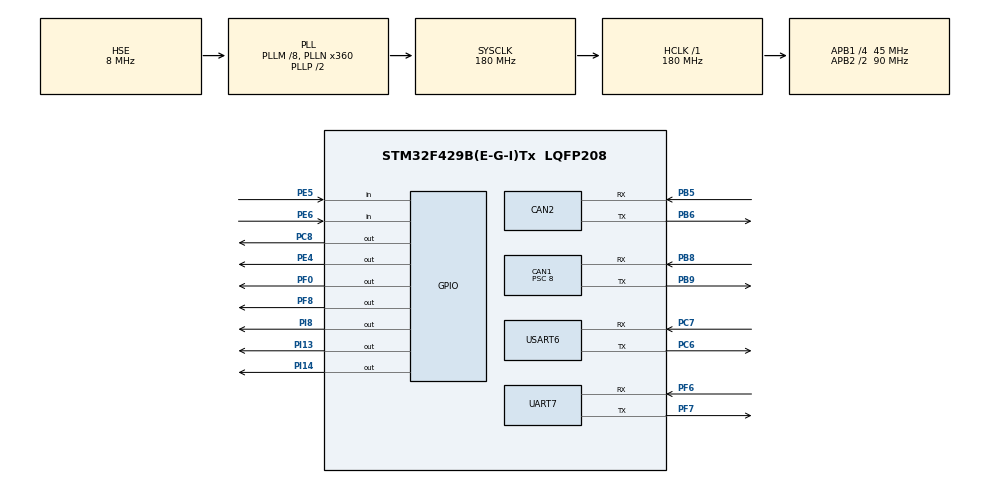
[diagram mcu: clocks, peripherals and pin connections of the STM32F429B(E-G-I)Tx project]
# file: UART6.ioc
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CAN1.ABOM=ENABLE
CAN1.BS1=CAN_BS1_8TQ
CAN1.BS2=CAN_BS2_3TQ
CAN1.CalculateTimeQuantum=177.77777777777777
CAN1.Prescaler=8
CAN2.BS1=CAN_BS1_3TQ
CAN2.BS2=CAN_BS2_5TQ
CAN2.CalculateTimeQuantum=355.55555555555554
Mcu.Family=STM32F4
Mcu.Name=STM32F429B(E-G-I)Tx
Mcu.Package=LQFP208
NVIC.CAN1_RX0_IRQn=true\:0\:0\:false\:false\:true\:true
NVIC.CAN1_TX_IRQn=true\:0\:0\:false\:false\:true\:true
NVIC.PriorityGroup=NVIC_PRIORITYGROUP_4
NVIC.UART7_IRQn=true\:0\:0\:false\:false\:true\:true
NVIC.USART6_IRQn=true\:0\:0\:false\:false\:true\:true
PB5.Mode=Slave
PB5.Signal=CAN2_RX
PB6.Mode=Slave
PB6.Signal=CAN2_TX
PB8.Mode=Master
PB8.Signal=CAN1_RX
PB9.Mode=Master
PB9.Signal=CAN1_TX
PC14/OSC32_IN.Mode=LSE-External-Oscillator
PC14/OSC32_IN.Signal=RCC_OSC32_IN
PC15/OSC32_OUT.Mode=LSE-External-Oscillator
PC15/OSC32_OUT.Signal=RCC_OSC32_OUT
PC6.Mode=Asynchronous
PC6.Signal=USART6_TX
PC7.Mode=Asynchronous
PC7.Signal=USART6_RX
PC8.Signal=GPIO_Output
PE4.GPIO_ModeDefaultOutputPP=GPIO_MODE_OUTPUT_PP
PE4.GPIO_PuPd=GPIO_NOPULL
PE4.GPIO_Speed=GPIO_SPEED_FREQ_LOW
PE4.PinState=GPIO_PIN_RESET
PE4.Signal=GPIO_Output
PE5.GPIO_Mode=GPIO_MODE_INPUT
PE5.GPIO_PuPd=GPIO_NOPULL
PE5.Signal=GPIO_Input
PE6.GPIO_Mode=GPIO_MODE_INPUT
PE6.GPIO_PuPd=GPIO_NOPULL
PE6.Signal=GPIO_Input
PF0.Signal=GPIO_Output
PF6.Mode=Asynchronous
PF6.Signal=UART7_RX
PF7.Mode=Asynchronous
PF7.Signal=UART7_TX
PF8.Signal=GPIO_Output
PH0/OSC_IN.Mode=HSE-External-Oscillator
PH0/OSC_IN.Signal=RCC_OSC_IN
PH1/OSC_OUT.Mode=HSE-External-Oscillator
PH1/OSC_OUT.Signal=RCC_OSC_OUT
PI13.Signal=GPIO_Output
PI14.Signal=GPIO_Output
PI8.GPIO_ModeDefaultOutputPP=GPIO_MODE_OUTPUT_PP
PI8.GPIO_PuPd=GPIO_NOPULL
PI8.GPIO_Speed=GPIO_SPEED_FREQ_LOW
PI8.PinState=GPIO_PIN_RESET
PI8.Signal=GPIO_Output
ProjectManager.HeapSize=0x200
ProjectManager.StackSize=0x400
ProjectManager.TargetToolchain=MDK-ARM V5
RCC.48MHZClocksFreq_Value=90000000
RCC.AHBFreq_Value=180000000
RCC.APB1CLKDivider=RCC_HCLK_DIV4
RCC.APB1Freq_Value=45000000
RCC.APB1TimFreq_Value=90000000
RCC.APB2CLKDivider=RCC_HCLK_DIV2
RCC.APB2Freq_Value=90000000
RCC.APB2TimFreq_Value=180000000
RCC.CortexFreq_Value=180000000
RCC.HCLKFreq_Value=180000000
RCC.HSE_VALUE=8000000
RCC.HSI_VALUE=16000000
RCC.PLLM=8
RCC.PLLN=360
RCC.PLLSourceVirtual=RCC_PLLSOURCE_HSE
RCC.RCC_RTC_Clock_Source=RCC_RTCCLKSOURCE_LSE
RCC.RCC_RTC_Clock_SourceVirtual=RCC_RTCCLKSOURCE_LSE
RCC.SYSCLKFreq_VALUE=180000000
RCC.SYSCLKSource=RCC_SYSCLKSOURCE_PLLCLK
RCC.VCOOutputFreq_Value=360000000
UART7.Parity=PARITY_NONE
UART7.VirtualMode=Asynchronous
UART7.WordLength=WORDLENGTH_8B
USART6.Parity=PARITY_EVEN
USART6.VirtualMode=VM_ASYNC
USART6.WordLength=WORDLENGTH_9B
VP_RTC_VS_RTC_Activate.Mode=RTC_Enabled
board=UART6

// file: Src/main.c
/* USER CODE BEGIN Header */
/**
  ******************************************************************************
  * @file           : main.c
  * @brief          : Main program body
  ******************************************************************************
  ** This notice applies to any and all portions of this file
  * that are not between comment pairs USER CODE BEGIN and
  * USER CODE END. Other portions of this file, whether
  * inserted by the user or by software development tools
  * are owned by their respective copyright owners.
  *
  * COPYRIGHT(c) 2019 STMicroelectronics
  *
  * Redistribution and use in source and binary forms, with or without modification,
  * are permitted provided that the following conditions are met:
  *   1. Redistributions of source code must retain the above copyright notice,
  *      this list of conditions and the following disclaimer.
  *   2. Redistributions in binary form must reproduce the above copyright notice,
  *      this list of conditions and the following disclaimer in the documentation
  *      and/or other materials provided with the distribution.
  *   3. Neither the name of STMicroelectronics nor the names of its contributors
  *      may be used to endorse or promote products derived from this software
  *      without specific prior written permission.
  *
  * THIS SOFTWARE IS PROVIDED BY THE COPYRIGHT HOLDERS AND CONTRIBUTORS "AS IS"
  * AND ANY EXPRESS OR IMPLIED WARRANTIES, INCLUDING, BUT NOT LIMITED TO, THE
  * IMPLIED WARRANTIES OF MERCHANTABILITY AND FITNESS FOR A PARTICULAR PURPOSE ARE
  * DISCLAIMED. IN NO EVENT SHALL THE COPYRIGHT HOLDER OR CONTRIBUTORS BE LIABLE
  * FOR ANY DIRECT, INDIRECT, INCIDENTAL, SPECIAL, EXEMPLARY, OR CONSEQUENTIAL
  * DAMAGES (INCLUDING, BUT NOT LIMITED TO, PROCUREMENT OF SUBSTITUTE GOODS OR
  * SERVICES; LOSS OF USE, DATA, OR PROFITS; OR BUSINESS INTERRUPTION) HOWEVER
  * CAUSED AND ON ANY THEORY OF LIABILITY, WHETHER IN CONTRACT, STRICT LIABILITY,
  * OR TORT (INCLUDING NEGLIGENCE OR OTHERWISE) ARISING IN ANY WAY OUT OF THE USE
  * OF THIS SOFTWARE, EVEN IF ADVISED OF THE POSSIBILITY OF SUCH DAMAGE.
  *
  ******************************************************************************
  */
/* USER CODE END Header */

#include "main.h"

/* USER CODE BEGIN Includes */
#include "stm32f4xx_hal.h"
/* USER CODE END Includes */

CAN_HandleTypeDef hcan1;
CAN_HandleTypeDef hcan2;

RTC_HandleTypeDef hrtc;

UART_HandleTypeDef huart7;
UART_HandleTypeDef huart6;

/* USER CODE BEGIN PV */
/* Private variables ---------------------------------------------------------*/
//! Makro for the delay times

/* Private variables ---------------------------------------------------------*/
//uint8_t aTxStartMessage[] = "\r\n****UART-Hyperterminal communication based on IT ****\r\n";
//uint8_t aTxStartMessage[] = {0x02, 0x00, 0x0C, 0x48, 0x65, 0x6C, 0x6C, 0x6F, 0x20, 0x57, 0x6F, 0x72, 0x6C, 0x64, 0x21, 0x0F};  //Hello World!
uint8_t aTxStartMessage[] = {0x02,0x00,0x80,
0xFA,0xFA,0xFA,0xFA,0xFA,0xFA,0xFA,0xFA,0xFA,0xFA,0xFA,0xFA,0xFA,0xFA,0xFA,0xFA,
0xFA,0xFA,0xFA,0xFA,0xFA,0xFA,0xFA,0xFA,0xFA,0xFA,0xFA,0xFA,0xFA,0xFA,0xFA,0xFA,
0xFA,0xFA,0xFA,0xFA,0xFA,0xFA,0xFA,0xFA,0xFA,0xFA,0xFA,0xFA,0xFA,0xFA,0xFA,0xFA,
0xFA,0xFA,0xFA,0xFA,0xFA,0xFA,0xFA,0xFA,0xFA,0xFA,0xFA,0xFA,0xFA,0xFA,0xFA,0xFA,
0xFA,0xFA,0xFA,0xFA,0xFA,0xFA,0xFA,0xFA,0xFA,0xFA,0xFA,0xFA,0xFA,0xFA,0xFA,0xFA,
0xFA,0xFA,0xFA,0xFA,0xFA,0xFA,0xFA,0xFA,0xFA,0xFA,0xFA,0xFA,0xFA,0xFA,0xFA,0xFA,
0xFA,0xFA,0xFA,0xFA,0xFA,0xFA,0xFA,0xFA,0xFA,0xFA,0xFA,0xFA,0xFA,0xFA,0xFA,0xFA,
0xFA,0xFA,0xFA,0xFA,0xFA,0xFA,0xFA,0xFA,0xFA,0xFA,0xFA,0xFA,0xFA,0xFA,0xFA,0xFA,
0x82};

/* Buffer used for reception */
uint8_t aRxBuffer[20];
/* USER CODE END PV */

void SystemClock_Config(void);
static void MX_GPIO_Init(void);
static void MX_USART6_UART_Init(void);
static void MX_RTC_Init(void);
static void MX_CAN1_Init(void);
static void MX_CAN2_Init(void);
static void MX_UART7_Init(void);
/* USER CODE BEGIN PFP */
/* Private function prototypes -----------------------------------------------*/

/* USER CODE END PFP */

int main(void)
{

  /* MCU Configuration--------------------------------------------------------*/

  /* Reset of all peripherals, Initializes the Flash interface and the Systick. */
  HAL_Init();

  /* Configure the system clock */
  SystemClock_Config();

  /* Initialize all configured peripherals */
  MX_GPIO_Init();
  MX_USART6_UART_Init();
  MX_RTC_Init();
  MX_CAN1_Init();
  MX_CAN2_Init();
  MX_UART7_Init();
  /* USER CODE BEGIN 2 */

	//HAL_UART_Transmit_IT(&huart6, (uint8_t *)aTxStartMessage, sizeof(aTxStartMessage));
  //HAL_UART_Receive_IT(&huart6, (uint8_t *)aRxBuffer, 10);

  /* USER CODE END 2 */

  /* Infinite loop */
  /* USER CODE BEGIN WHILE */
  while (1)
  {
		//SENDER

	//Alte Konfiguration mit UART Tranciever auf dem Board
	//HAL_GPIO_WritePin(GPIOC,GPIO_PIN_8,GPIO_PIN_SET);
	//if(HAL_GPIO_ReadPin(GPIOC,GPIO_PIN_8)){
	//	HAL_UART_Transmit_IT(&huart6, (uint8_t *)aTxStartMessage, sizeof(aTxStartMessage));
	//}
	//HAL_GPIO_WritePin(GPIOC,GPIO_PIN_8,GPIO_PIN_RESET);

	HAL_UART_Transmit_IT(&huart7, (uint8_t *)aTxStartMessage, sizeof(aTxStartMessage));

		//RECEIVER

		//HAL_Delay(500);
	//HAL_UART_Receive(&huart7, (uint8_t *)aRxBuffer, 20, 500); //Receive incoming data
	//HAL_UART_Transmit_IT(&huart6, (uint8_t *)aRxBuffer, sizeof(aRxBuffer)); //Send to other uart

    /* USER CODE END WHILE */

  }
}

void SystemClock_Config(void)
{
  RCC_OscInitTypeDef RCC_OscInitStruct = {0};
  RCC_ClkInitTypeDef RCC_ClkInitStruct = {0};
  RCC_PeriphCLKInitTypeDef PeriphClkInitStruct = {0};

  /**Configure the main internal regulator output voltage
  */
  __HAL_RCC_PWR_CLK_ENABLE();
  __HAL_PWR_VOLTAGESCALING_CONFIG(PWR_REGULATOR_VOLTAGE_SCALE1);
  /**Initializes the CPU, AHB and APB busses clocks
  */
  RCC_OscInitStruct.OscillatorType = RCC_OSCILLATORTYPE_HSE|RCC_OSCILLATORTYPE_LSE;
  RCC_OscInitStruct.HSEState = RCC_HSE_ON;
  RCC_OscInitStruct.LSEState = RCC_LSE_ON;
  RCC_OscInitStruct.PLL.PLLState = RCC_PLL_ON;
  RCC_OscInitStruct.PLL.PLLSource = RCC_PLLSOURCE_HSE;
  RCC_OscInitStruct.PLL.PLLM = 8;
  RCC_OscInitStruct.PLL.PLLN = 360;
  RCC_OscInitStruct.PLL.PLLP = RCC_PLLP_DIV2;
  RCC_OscInitStruct.PLL.PLLQ = 4;
  if (HAL_RCC_OscConfig(&RCC_OscInitStruct) != HAL_OK)
  {
    Error_Handler();
  }
  /**Activate the Over-Drive mode
  */
  if (HAL_PWREx_EnableOverDrive() != HAL_OK)
  {
    Error_Handler();
  }
  /**Initializes the CPU, AHB and APB busses clocks
  */
  RCC_ClkInitStruct.ClockType = RCC_CLOCKTYPE_HCLK|RCC_CLOCKTYPE_SYSCLK
                              |RCC_CLOCKTYPE_PCLK1|RCC_CLOCKTYPE_PCLK2;
  RCC_ClkInitStruct.SYSCLKSource = RCC_SYSCLKSOURCE_PLLCLK;
  RCC_ClkInitStruct.AHBCLKDivider = RCC_SYSCLK_DIV1;
  RCC_ClkInitStruct.APB1CLKDivider = RCC_HCLK_DIV4;
  RCC_ClkInitStruct.APB2CLKDivider = RCC_HCLK_DIV2;

  if (HAL_RCC_ClockConfig(&RCC_ClkInitStruct, FLASH_LATENCY_5) != HAL_OK)
  {
    Error_Handler();
  }
  PeriphClkInitStruct.PeriphClockSelection = RCC_PERIPHCLK_RTC;
  PeriphClkInitStruct.RTCClockSelection = RCC_RTCCLKSOURCE_LSE;
  if (HAL_RCCEx_PeriphCLKConfig(&PeriphClkInitStruct) != HAL_OK)
  {
    Error_Handler();
  }
}

static void MX_CAN1_Init(void)
{

  hcan1.Instance = CAN1;
  hcan1.Init.Prescaler = 8;
  hcan1.Init.Mode = CAN_MODE_NORMAL;
  hcan1.Init.SyncJumpWidth = CAN_SJW_1TQ;
  hcan1.Init.TimeSeg1 = CAN_BS1_8TQ;
  hcan1.Init.TimeSeg2 = CAN_BS2_3TQ;
  hcan1.Init.TimeTriggeredMode = DISABLE;
  hcan1.Init.AutoBusOff = ENABLE;
  hcan1.Init.AutoWakeUp = DISABLE;
  hcan1.Init.AutoRetransmission = DISABLE;
  hcan1.Init.ReceiveFifoLocked = DISABLE;
  hcan1.Init.TransmitFifoPriority = DISABLE;
  if (HAL_CAN_Init(&hcan1) != HAL_OK)
  {
    Error_Handler();
  }

}

static void MX_CAN2_Init(void)
{

  hcan2.Instance = CAN2;
  hcan2.Init.Prescaler = 16;
  hcan2.Init.Mode = CAN_MODE_NORMAL;
  hcan2.Init.SyncJumpWidth = CAN_SJW_1TQ;
  hcan2.Init.TimeSeg1 = CAN_BS1_3TQ;
  hcan2.Init.TimeSeg2 = CAN_BS2_5TQ;
  hcan2.Init.TimeTriggeredMode = DISABLE;
  hcan2.Init.AutoBusOff = DISABLE;
  hcan2.Init.AutoWakeUp = DISABLE;
  hcan2.Init.AutoRetransmission = DISABLE;
  hcan2.Init.ReceiveFifoLocked = DISABLE;
  hcan2.Init.TransmitFifoPriority = DISABLE;
  if (HAL_CAN_Init(&hcan2) != HAL_OK)
  {
    Error_Handler();
  }

}

static void MX_RTC_Init(void)
{

  /**Initialize RTC Only
  */
  hrtc.Instance = RTC;
  hrtc.Init.HourFormat = RTC_HOURFORMAT_24;
  hrtc.Init.AsynchPrediv = 127;
  hrtc.Init.SynchPrediv = 255;
  hrtc.Init.OutPut = RTC_OUTPUT_DISABLE;
  hrtc.Init.OutPutPolarity = RTC_OUTPUT_POLARITY_HIGH;
  hrtc.Init.OutPutType = RTC_OUTPUT_TYPE_OPENDRAIN;
  if (HAL_RTC_Init(&hrtc) != HAL_OK)
  {
    Error_Handler();
  }

}

static void MX_UART7_Init(void)
{

  huart7.Instance = UART7;
  huart7.Init.BaudRate = 115200;
  huart7.Init.WordLength = UART_WORDLENGTH_8B;
  huart7.Init.StopBits = UART_STOPBITS_1;
  huart7.Init.Parity = UART_PARITY_NONE;
  huart7.Init.Mode = UART_MODE_TX_RX;
  huart7.Init.HwFlowCtl = UART_HWCONTROL_NONE;
  huart7.Init.OverSampling = UART_OVERSAMPLING_16;
  if (HAL_UART_Init(&huart7) != HAL_OK)
  {
    Error_Handler();
  }

}

static void MX_USART6_UART_Init(void)
{

  huart6.Instance = USART6;
  huart6.Init.BaudRate = 115200;
  huart6.Init.WordLength = UART_WORDLENGTH_9B;
  huart6.Init.StopBits = UART_STOPBITS_1;
  huart6.Init.Parity = UART_PARITY_EVEN;
  huart6.Init.Mode = UART_MODE_TX_RX;
  huart6.Init.HwFlowCtl = UART_HWCONTROL_NONE;
  huart6.Init.OverSampling = UART_OVERSAMPLING_16;
  if (HAL_UART_Init(&huart6) != HAL_OK)
  {
    Error_Handler();
  }

}

static void MX_GPIO_Init(void)
{
  GPIO_InitTypeDef GPIO_InitStruct = {0};

  /* GPIO Ports Clock Enable */
  __HAL_RCC_GPIOE_CLK_ENABLE();
  __HAL_RCC_GPIOI_CLK_ENABLE();
  __HAL_RCC_GPIOC_CLK_ENABLE();
  __HAL_RCC_GPIOF_CLK_ENABLE();
  __HAL_RCC_GPIOH_CLK_ENABLE();
  __HAL_RCC_GPIOB_CLK_ENABLE();

  /*Configure GPIO pin Output Level */
  HAL_GPIO_WritePin(GPIOE, GPIO_PIN_4, GPIO_PIN_RESET);

  /*Configure GPIO pin Output Level */
  HAL_GPIO_WritePin(GPIOI, GPIO_PIN_8|GPIO_PIN_13|GPIO_PIN_14, GPIO_PIN_RESET);

  /*Configure GPIO pin Output Level */
  HAL_GPIO_WritePin(GPIOF, GPIO_PIN_0|GPIO_PIN_8, GPIO_PIN_RESET);

  /*Configure GPIO pin Output Level */
  HAL_GPIO_WritePin(GPIOC, GPIO_PIN_8, GPIO_PIN_RESET);

  /*Configure GPIO pin : PE4 */
  GPIO_InitStruct.Pin = GPIO_PIN_4;
  GPIO_InitStruct.Mode = GPIO_MODE_OUTPUT_PP;
  GPIO_InitStruct.Pull = GPIO_NOPULL;
  GPIO_InitStruct.Speed = GPIO_SPEED_FREQ_LOW;
  HAL_GPIO_Init(GPIOE, &GPIO_InitStruct);

  /*Configure GPIO pins : PE5 PE6 */
  GPIO_InitStruct.Pin = GPIO_PIN_5|GPIO_PIN_6;
  GPIO_InitStruct.Mode = GPIO_MODE_INPUT;
  GPIO_InitStruct.Pull = GPIO_NOPULL;
  HAL_GPIO_Init(GPIOE, &GPIO_InitStruct);

  /*Configure GPIO pins : PI8 PI13 PI14 */
  GPIO_InitStruct.Pin = GPIO_PIN_8|GPIO_PIN_13|GPIO_PIN_14;
  GPIO_InitStruct.Mode = GPIO_MODE_OUTPUT_PP;
  GPIO_InitStruct.Pull = GPIO_NOPULL;
  GPIO_InitStruct.Speed = GPIO_SPEED_FREQ_LOW;
  HAL_GPIO_Init(GPIOI, &GPIO_InitStruct);

  /*Configure GPIO pins : PF0 PF8 */
  GPIO_InitStruct.Pin = GPIO_PIN_0|GPIO_PIN_8;
  GPIO_InitStruct.Mode = GPIO_MODE_OUTPUT_PP;
  GPIO_InitStruct.Pull = GPIO_NOPULL;
  GPIO_InitStruct.Speed = GPIO_SPEED_FREQ_LOW;
  HAL_GPIO_Init(GPIOF, &GPIO_InitStruct);

  /*Configure GPIO pin : PC8 */
  GPIO_InitStruct.Pin = GPIO_PIN_8;
  GPIO_InitStruct.Mode = GPIO_MODE_OUTPUT_PP;
  GPIO_InitStruct.Pull = GPIO_NOPULL;
  GPIO_InitStruct.Speed = GPIO_SPEED_FREQ_LOW;
  HAL_GPIO_Init(GPIOC, &GPIO_InitStruct);

}

/* USER CODE BEGIN 4 */
	/**
  * @brief Rx Transfer completed callbacks
  * @param huart: uart handle
  * @retval None
  */
void HAL_UART_RxCpltCallback(UART_HandleTypeDef *huart)
{
  /* Prevent unused argument(s) compilation warning */
  UNUSED(huart);

  /* NOTE : This function should not be modified, when the callback is needed,
            the HAL_UART_RxCpltCallback can be implemented in the user file
   */
    HAL_UART_Transmit(&huart6, (uint8_t *)aRxBuffer, 10,0xFFFF);
}
/* USER CODE END 4 */

void Error_Handler(void)
{
  while(1)
  {
  }
}

/************************ (C) COPYRIGHT STMicroelectronics *****END OF FILE****/
